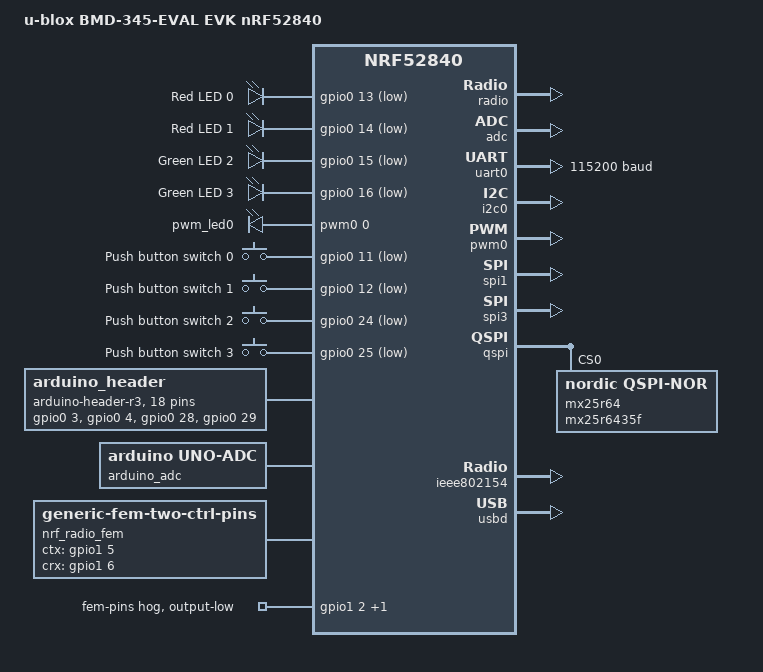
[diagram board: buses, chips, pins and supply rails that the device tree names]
/*
 * BMD-340-EVAL board configuration
 * Copyright (c) 2021 u-blox AG
 * Copyright (c) 2021 Linumiz
 *
 * SPDX-License-Identifier: Apache-2.0
 */

/dts-v1/;
#include <nordic/nrf52840_qiaa.dtsi>
#include "ubx_bmd345eval_nrf52840-pinctrl.dtsi"
#include <zephyr/dt-bindings/input/input-event-codes.h>

/ {
	model = "u-blox BMD-345-EVAL EVK nRF52840";
	compatible = "u-blox,ubx-bmd345eval-nrf52840";

	chosen {
		zephyr,console = &uart0;
		zephyr,shell-uart = &uart0;
		zephyr,uart-mcumgr = &uart0;
		zephyr,bt-mon-uart = &uart0;
		zephyr,bt-c2h-uart = &uart0;
		zephyr,sram = &sram0;
		zephyr,flash = &flash0;
		zephyr,code-partition = &slot0_partition;
		zephyr,ieee802154 = &ieee802154;
	};

	leds {
		compatible = "gpio-leds";
		led0: led_0 {
			gpios = <&gpio0 13 GPIO_ACTIVE_LOW>;
			label = "Red LED 0";
		};
		led1: led_1 {
			gpios = <&gpio0 14 GPIO_ACTIVE_LOW>;
			label = "Red LED 1";
		};
		led2: led_2 {
			gpios = <&gpio0 15 GPIO_ACTIVE_LOW>;
			label = "Green LED 2";
		};
		led3: led_3 {
			gpios = <&gpio0 16 GPIO_ACTIVE_LOW>;
			label = "Green LED 3";
		};
	};

	pwmleds {
		compatible = "pwm-leds";
		pwm_led0: pwm_led_0 {
			pwms = <&pwm0 0 PWM_MSEC(20) PWM_POLARITY_INVERTED>;
		};
	};

	buttons {
		compatible = "gpio-keys";
		button0: button_0 {
			gpios = <&gpio0 11 (GPIO_PULL_UP | GPIO_ACTIVE_LOW)>;
			label = "Push button switch 0";
			zephyr,code = <INPUT_KEY_0>;
		};
		button1: button_1 {
			gpios = <&gpio0 12 (GPIO_PULL_UP | GPIO_ACTIVE_LOW)>;
			label = "Push button switch 1";
			zephyr,code = <INPUT_KEY_1>;
		};
		button2: button_2 {
			gpios = <&gpio0 24 (GPIO_PULL_UP | GPIO_ACTIVE_LOW)>;
			label = "Push button switch 2";
			zephyr,code = <INPUT_KEY_2>;
		};
		button3: button_3 {
			gpios = <&gpio0 25 (GPIO_PULL_UP | GPIO_ACTIVE_LOW)>;
			label = "Push button switch 3";
			zephyr,code = <INPUT_KEY_3>;
		};
	};

	arduino_header: connector {
		compatible = "arduino-header-r3";
		#gpio-cells = <2>;
		gpio-map-mask = <0xffffffff 0xffffffc0>;
		gpio-map-pass-thru = <0 0x3f>;
		gpio-map = <0 0 &gpio0 3 0>,    /* A0 */
			<1 0 &gpio0 4 0>,    /* A1 */
			<2 0 &gpio0 28 0>,   /* A2 */
			<3 0 &gpio0 29 0>,   /* A3 */
			<4 0 &gpio0 30 0>,   /* A4 */
			<5 0 &gpio0 31 0>,   /* A5 */
			<6 0 &gpio1 1 0>,    /* D0 */
			/* not present */    /* D1 */
			<8 0 &gpio1 3 0>,    /* D2 */
			/* not present */    /* D3 */
			/* not present */    /* D4 */
			/* not present */    /* D5 */
			<12 0 &gpio1 7 0>,   /* D6 */
			<13 0 &gpio1 8 0>,   /* D7 */
			<14 0 &gpio1 10 0>,  /* D8 */
			<15 0 &gpio1 11 0>,  /* D9 */
			<16 0 &gpio1 12 0>,  /* D10 */
			<17 0 &gpio1 13 0>,  /* D11 */
			<18 0 &gpio1 14 0>,  /* D12 */
			<19 0 &gpio1 15 0>,  /* D13 */
			<20 0 &gpio0 26 0>,  /* D14 */
			<21 0 &gpio0 27 0>;  /* D15 */
	};

	arduino_adc: analog-connector {
		compatible = "arduino,uno-adc";
		#io-channel-cells = <1>;
		io-channel-map = <0 &adc 1>,    /* A0 = P0.3 = AIN1 */
			<1 &adc 2>,    /* A1 = P0.4 = AIN2 */
			<2 &adc 4>,    /* A2 = P0.28 = AIN4 */
			<3 &adc 5>,    /* A3 = P0.29 = AIN5 */
			<4 &adc 6>,    /* A4 = P0.30 = AIN6 */
			<5 &adc 7>;    /* A5 = P0.31 = AIN7 */
	};

	nrf_radio_fem: fem {
		compatible = "generic-fem-two-ctrl-pins";
		ctx-gpios = <&gpio1 5 0>;
		ctx-settle-time-us = <1>;
		crx-gpios = <&gpio1 6 0>;
		crx-settle-time-us = <1>;
	};

	/* These aliases are provided for compatibility with samples */
	aliases {
		led0 = &led0;
		led1 = &led1;
		led2 = &led2;
		led3 = &led3;
		pwm-led0 = &pwm_led0;
		sw0 = &button0;
		sw1 = &button1;
		sw2 = &button2;
		sw3 = &button3;
		bootloader-led0 = &led0;
		mcuboot-button0 = &button0;
		mcuboot-led0 = &led0;
		watchdog0 = &wdt0;
		spi-flash0 = &mx25r64;
	};
};

&radio {
	fem = <&nrf_radio_fem>;
};

&adc {
	status = "okay";
};

&uicr {
	gpio-as-nreset;
};

&gpiote {
	status = "okay";
};

&gpio0 {
	status = "okay";
};

&gpio1 {
	status = "okay";

	fem-pins {
		gpio-hog;
		/* A_SEL, MODE pins */
		gpios = <2 GPIO_ACTIVE_HIGH>, <4 GPIO_ACTIVE_HIGH>;
		output-low;
	};
};

&uart0 {
	compatible = "nordic,nrf-uarte";
	status = "okay";
	current-speed = <115200>;
	pinctrl-0 = <&uart0_default>;
	pinctrl-1 = <&uart0_sleep>;
	pinctrl-names = "default", "sleep";
};

arduino_i2c: &i2c0 {
	compatible = "nordic,nrf-twi";
	status = "okay";
	pinctrl-0 = <&i2c0_default>;
	pinctrl-1 = <&i2c0_sleep>;
	pinctrl-names = "default", "sleep";
};

&i2c1 {
	compatible = "nordic,nrf-twi";
	/* Cannot be used together with spi1. */
	/* status = "okay"; */
	pinctrl-0 = <&i2c1_default>;
	pinctrl-1 = <&i2c1_sleep>;
	pinctrl-names = "default", "sleep";
};

&pwm0 {
	status = "okay";
	pinctrl-0 = <&pwm0_default>;
	pinctrl-1 = <&pwm0_sleep>;
	pinctrl-names = "default", "sleep";
};

&spi0 {
	compatible = "nordic,nrf-spi";
	/* Cannot be used together with i2c0. */
	/* status = "okay"; */
	pinctrl-0 = <&spi0_default>;
	pinctrl-1 = <&spi0_sleep>;
	pinctrl-names = "default", "sleep";
};

&spi1 {
	compatible = "nordic,nrf-spi";
	status = "okay";
	pinctrl-0 = <&spi1_default>;
	pinctrl-1 = <&spi1_sleep>;
	pinctrl-names = "default", "sleep";
};

&spi2 {
	compatible = "nordic,nrf-spi";
	status = "disabled";
	pinctrl-0 = <&spi2_default>;
	pinctrl-1 = <&spi2_sleep>;
	pinctrl-names = "default", "sleep";
};

arduino_spi: &spi3 {
	status = "okay";
	cs-gpios = <&arduino_header 16 GPIO_ACTIVE_LOW>; /* D10 */
	pinctrl-0 = <&spi3_default>;
	pinctrl-1 = <&spi3_sleep>;
	pinctrl-names = "default", "sleep";
};

&qspi {
	status = "okay";
	pinctrl-0 = <&qspi_default>;
	pinctrl-1 = <&qspi_sleep>;
	pinctrl-names = "default", "sleep";
	mx25r64: mx25r6435f@0 {
		compatible = "nordic,qspi-nor";
		reg = <0>;
		/* MX25R64 supports only pp and pp4io */
		writeoc = "pp4io";
		/* MX25R64 supports all readoc options */
		readoc = "read4io";
		sck-frequency = <8000000>;
		jedec-id = [c2 28 17];
		sfdp-bfp = [
			e5 20 f1 ff  ff ff ff 03
			44 eb 08 6b  08 3b 04 bb
			ee ff ff ff  ff ff 00 ff
			ff ff 00 ff  0c 20 0f 52
			10 d8 00 ff  23 72 f5 00
			82 ed 04 cc  44 83 68 44
			30 b0 30 b0  f7 c4 d5 5c
			00 be 29 ff  f0 d0 ff ff
		];
		size = <67108864>;
		has-dpd;
		t-enter-dpd = <10000>;
		t-exit-dpd = <35000>;
	};
};

&ieee802154 {
	status = "okay";
};

&flash0 {

	partitions {
		compatible = "fixed-partitions";
		#address-cells = <1>;
		#size-cells = <1>;

		boot_partition: partition@0 {
			label = "mcuboot";
			reg = <0x00000000 0x0000C000>;
		};
		slot0_partition: partition@c000 {
			label = "image-0";
			reg = <0x0000C000 0x00067000>;
		};
		slot1_partition: partition@73000 {
			label = "image-1";
			reg = <0x00073000 0x00067000>;
		};
		scratch_partition: partition@da000 {
			label = "image-scratch";
			reg = <0x000da000 0x0001e000>;
		};

		/*
		 * The flash starting at 0x000f8000 and ending at
		 * 0x000fffff is reserved for use by the application.
		 */

		/*
		 * Storage partition will be used by FCB/LittleFS/NVS
		 * if enabled.
		 */
		storage_partition: partition@f8000 {
			label = "storage";
			reg = <0x000f8000 0x00008000>;
		};
	};
};

zephyr_udc0: &usbd {
	compatible = "nordic,nrf-usbd";
	status = "okay";
};
